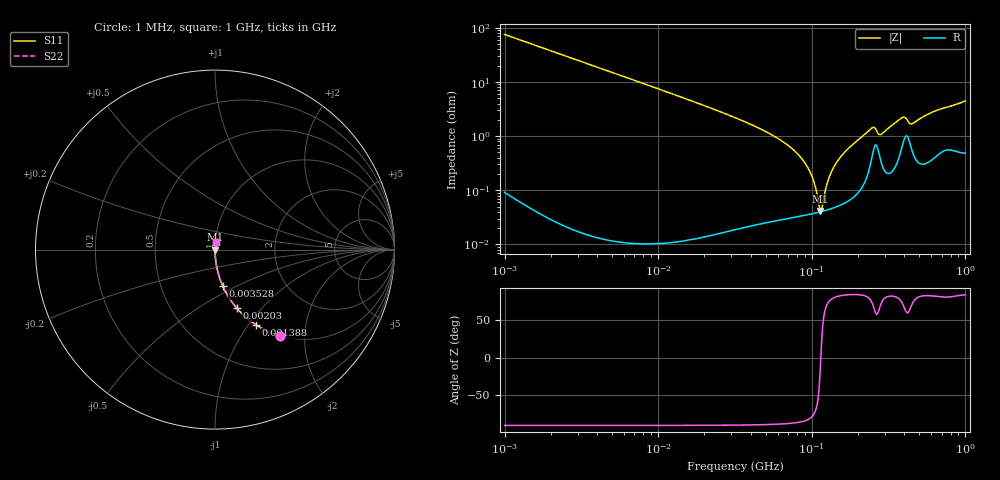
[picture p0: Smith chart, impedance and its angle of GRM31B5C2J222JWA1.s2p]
!Murata Part Number: GRM31B5C2J222JWA1
!These Parameters are Measured in Series Mode Connection
!Data Generated on Mar 30, 2021
!  o--ll--o
!Port1  Port2
!  o------o
!Operation Temp=25[degC], DC Bias Voltage=0[V]
!Freq. Start=1000[kHz] Stop=1000[MHz] 401[Steps]
# Hz S RI R 50
!Freq.(Hz) S11(Real) S11(Imag) S21(Real) S21(Imag) S12(Real) S12(Imag) S22(Real) S22(Imag)
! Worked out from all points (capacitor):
!   401 points, 1 MHz to 1 GHz, reference 50 ohm
!   read as one part in series: C = 2.11 nF near 1.035 MHz
!   lowest |Z| = 41.6 mohm at 113.5 MHz (marker M1)
!   series resonance near 114.5 MHz, so ESL is about 920 pH
!   S11 on the Smith chart (normalised r, x): 1 MHz: 1.00, -1.51; 1.388 MHz: 1.00, -1.09; 2.03 MHz: 1.00, -0.74; 3.528 MHz: 1.00, -0.43; 1 GHz: 1.01, +0.09
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1000000  0.3636 -0.4804  0.6364 0.4804  0.6364 0.4804  0.3636 -0.4804
1388353  0.2287 -0.4195  0.7713 0.4195  0.7713 0.4195  0.2287 -0.4195
2030019  0.1218 -0.3267  0.8782 0.3267  0.8782 0.3267  0.1218 -0.3267
3180534  0.0535 -0.2247  0.9465 0.2247  0.9465 0.2247  0.0535 -0.2247
3527768  0.0439 -0.2046  0.9561 0.2046  0.9561 0.2046  0.0439 -0.2046
1.01158e7  0.00556 -0.0737  0.9944 0.0737  0.9944 0.0737  0.00556 -0.0737
3.162278e7  0.000671 -0.022  0.9993 0.022  0.9993 0.022  0.000671 -0.022
6.99842e7  0.000346 -0.00675  0.9997 0.00675  0.9997 0.00675  0.000346 -0.00675
8.759917e7  0.000352 -0.00358  0.9996 0.00358  0.9996 0.00358  0.000352 -0.00358
1.005773e8  0.000371 -0.00172  0.9996 0.00172  0.9996 0.00172  0.000371 -0.00172
1.135011e8  0.000399 -0.000116  0.9996 0.000116  0.9996 0.000116  0.000399 -0.000116
1.174898e8  0.00041 0.000344  0.9996 -0.000344  0.9996 -0.000344  0.00041 0.000344
1.258925e8  0.000435 0.00127  0.9996 -0.00127  0.9996 -0.00127  0.000435 0.00127
1.325867e8  0.000457 0.00198  0.9995 -0.00198  0.9995 -0.00198  0.000457 0.00198
1.603245e8  0.000584 0.00469  0.9994 -0.00469  0.9994 -0.00469  0.000584 0.00469
2.46888e8  0.00432 0.0135  0.9957 -0.0135  0.9957 -0.0135  0.00432 0.0135
2.786121e8  0.00395 0.00977  0.996 -0.00977  0.996 -0.00977  0.00395 0.00977
3.198895e8  0.00226 0.0144  0.9977 -0.0144  0.9977 -0.0144  0.00226 0.0144
3.868121e8  0.00671 0.0207  0.9933 -0.0207  0.9933 -0.0207  0.00671 0.0207
4.518559e8  0.0054 0.0161  0.9946 -0.0161  0.9946 -0.0161  0.0054 0.0161
6.273357e8  0.00473 0.0282  0.9953 -0.0282  0.9953 -0.0282  0.00473 0.0282
1e9  0.00677 0.0439  0.9932 -0.0439  0.9932 -0.0439  0.00677 0.0439
